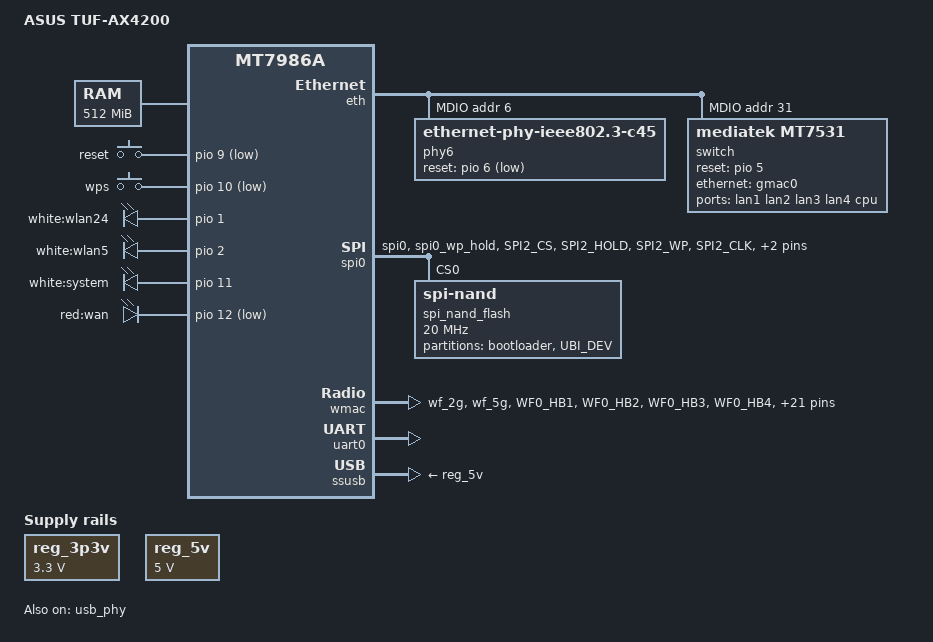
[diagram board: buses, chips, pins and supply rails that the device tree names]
// SPDX-License-Identifier: (GPL-2.0 OR MIT)

/dts-v1/;
#include <dt-bindings/input/input.h>
#include <dt-bindings/gpio/gpio.h>
#include <dt-bindings/leds/common.h>

#include "mt7986a.dtsi"

/ {
	model = "ASUS TUF-AX4200";
	compatible = "asus,tuf-ax4200", "mediatek,mt7986a";

	aliases {
		serial0 = &uart0;
		led-boot = &led_system;
		led-failsafe = &led_system;
		led-running = &led_system;
		led-upgrade = &led_system;
	};

	chosen {
		stdout-path = "serial0:115200n8";
		bootargs-override = "ubi.mtd=UBI_DEV";
	};

	memory {
		reg = <0 0x40000000 0 0x20000000>;
	};

	keys {
		compatible = "gpio-keys";

		reset {
			label = "reset";
			gpios = <&pio 9 GPIO_ACTIVE_LOW>;
			linux,code = <KEY_RESTART>;
		};

		mesh {
			label = "wps";
			gpios = <&pio 10 GPIO_ACTIVE_LOW>;
			linux,code = <KEY_WPS_BUTTON>;
		};
	};

	leds {
		compatible = "gpio-leds";

		wlan24 {
			label = "white:wlan24";
			gpios = <&pio 1 GPIO_ACTIVE_HIGH>;
			linux,default-trigger = "phy0tpt";
		};

		wlan5 {
			label = "white:wlan5";
			gpios = <&pio 2 GPIO_ACTIVE_HIGH>;
			linux,default-trigger = "phy1tpt";
		};

		led_system: system {
			label = "white:system";
			gpios = <&pio 11 GPIO_ACTIVE_HIGH>;
		};

		wan-red {
			label = "red:wan";
			gpios = <&pio 12 GPIO_ACTIVE_LOW>;
		};
	};

	reg_3p3v: regulator-3p3v {
		compatible = "regulator-fixed";
		regulator-name = "fixed-3.3V";
		regulator-min-microvolt = <3300000>;
		regulator-max-microvolt = <3300000>;
		regulator-boot-on;
		regulator-always-on;
	};

	reg_5v: regulator-5v {
		compatible = "regulator-fixed";
		regulator-name = "fixed-5V";
		regulator-min-microvolt = <5000000>;
		regulator-max-microvolt = <5000000>;
		regulator-boot-on;
		regulator-always-on;
	};
};

&eth {
	status = "okay";

	gmac0: mac@0 {
		/* LAN */
		compatible = "mediatek,eth-mac";
		reg = <0>;
		phy-mode = "2500base-x";

		fixed-link {
			speed = <2500>;
			full-duplex;
			pause;
		};
	};

	gmac1: mac@1 {
		/* WAN */
		compatible = "mediatek,eth-mac";
		reg = <1>;
		phy-mode = "2500base-x";
		phy-handle = <&phy6>;
	};

	mdio: mdio-bus {
		#address-cells = <1>;
		#size-cells = <0>;
	};
};

&mdio {
	phy6: phy@6 {
		compatible = "ethernet-phy-ieee802.3-c45";
		reg = <6>;

		reset-gpios = <&pio 6 GPIO_ACTIVE_LOW>;
		reset-assert-us = <10000>;
		reset-deassert-us = <10000>;

		/* LED0: CONN (WAN white) */
		mxl,led-config = <0x00f0 0x0 0x0 0x0>;
	};

	switch: switch@0 {
		compatible = "mediatek,mt7531";
		reg = <31>;

		reset-gpios = <&pio 5 GPIO_ACTIVE_HIGH>;
		reset-assert-us = <10000>;
		reset-deassert-us = <10000>;
	};
};

&pio {
	spi_flash_pins: spi-flash-pins-33-to-38 {
		mux {
			function = "spi";
			groups = "spi0", "spi0_wp_hold";
		};
		conf-pu {
			pins = "SPI2_CS", "SPI2_HOLD", "SPI2_WP";
			drive-strength = <8>;
			mediatek,pull-up-adv = <0>; /* bias-disable */
		};
		conf-pd {
			pins = "SPI2_CLK", "SPI2_MOSI", "SPI2_MISO";
			drive-strength = <8>;
			mediatek,pull-down-adv = <0>; /* bias-disable */
		};
	};

	wf_2g_5g_pins: wf_2g_5g-pins {
		mux {
			function = "wifi";
			groups = "wf_2g", "wf_5g";
		};
		conf {
			pins = "WF0_HB1", "WF0_HB2", "WF0_HB3", "WF0_HB4",
			       "WF0_HB0", "WF0_HB0_B", "WF0_HB5", "WF0_HB6",
			       "WF0_HB7", "WF0_HB8", "WF0_HB9", "WF0_HB10",
			       "WF0_TOP_CLK", "WF0_TOP_DATA", "WF1_HB1",
			       "WF1_HB2", "WF1_HB3", "WF1_HB4", "WF1_HB0",
			       "WF1_HB5", "WF1_HB6", "WF1_HB7", "WF1_HB8",
			       "WF1_TOP_CLK", "WF1_TOP_DATA";
			drive-strength = <4>;
		};
	};

	wf_dbdc_pins: wf-dbdc-pins {
		mux {
			function = "wifi";
			groups = "wf_dbdc";
		};
		conf {
			pins = "WF0_HB1", "WF0_HB2", "WF0_HB3", "WF0_HB4",
				"WF0_HB0", "WF0_HB0_B", "WF0_HB5", "WF0_HB6",
				"WF0_HB7", "WF0_HB8", "WF0_HB9", "WF0_HB10",
				"WF0_TOP_CLK", "WF0_TOP_DATA", "WF1_HB1",
				"WF1_HB2", "WF1_HB3", "WF1_HB4", "WF1_HB0",
				"WF1_HB5", "WF1_HB6", "WF1_HB7", "WF1_HB8",
				"WF1_TOP_CLK", "WF1_TOP_DATA";
			drive-strength = <4>;
		};
	};
};

&spi0 {
	pinctrl-names = "default";
	pinctrl-0 = <&spi_flash_pins>;
	status = "okay";

	spi_nand_flash: flash@0 {
		compatible = "spi-nand";
		#address-cells = <1>;
		#size-cells = <1>;
		reg = <0>;

		spi-max-frequency = <20000000>;
		spi-tx-bus-width = <4>;
		spi-rx-bus-width = <4>;

		partitions: partitions {
			compatible = "fixed-partitions";
			#address-cells = <1>;
			#size-cells = <1>;

			partition@0 {
				label = "bootloader";
				reg = <0x0 0x400000>;
				read-only;
			};

			partition@400000 {
				label = "UBI_DEV";
				reg = <0x400000 0xfc00000>;
			};
		};
	};
};

&switch {
	ports {
		#address-cells = <1>;
		#size-cells = <0>;

		port@1 {
			reg = <1>;
			label = "lan1";
		};

		port@2 {
			reg = <2>;
			label = "lan2";
		};

		port@3 {
			reg = <3>;
			label = "lan3";
		};

		port@4 {
			reg = <4>;
			label = "lan4";
		};

		port@6 {
			reg = <6>;
			label = "cpu";
			ethernet = <&gmac0>;
			phy-mode = "2500base-x";

			fixed-link {
				speed = <2500>;
				full-duplex;
				pause;
			};
		};
	};
};

&wmac {
	status = "okay";
	pinctrl-names = "default", "dbdc";
	pinctrl-0 = <&wf_2g_5g_pins>;
	pinctrl-1 = <&wf_dbdc_pins>;
};

&uart0 {
	status = "okay";
};

&ssusb {
	vusb33-supply = <&reg_3p3v>;
	vbus-supply = <&reg_5v>;
	status = "okay";
};

&usb_phy {
	status = "okay";
};
